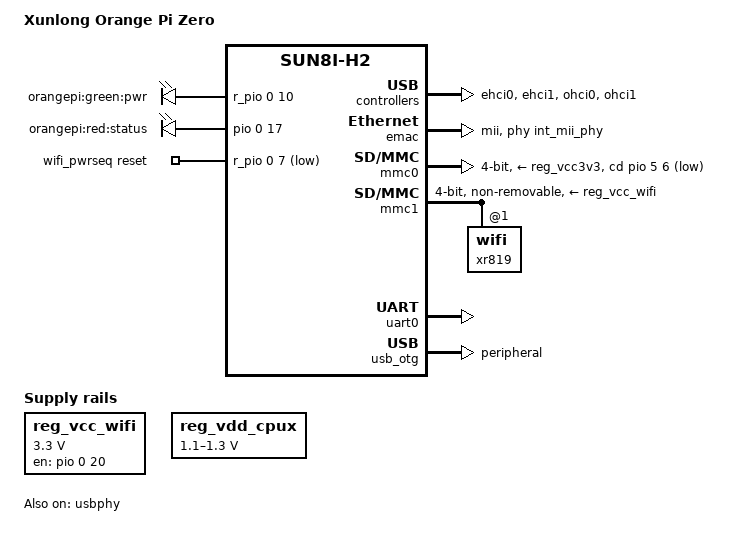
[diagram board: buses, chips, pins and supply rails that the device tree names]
/*
 * Copyright (C) 2016 Icenowy Zheng <icenowy@aosc.xyz>
 *
 * Based on sun8i-h3-orangepi-one.dts, which is:
 *   Copyright (C) 2016 Hans de Goede <hdegoede@redhat.com>
 *
 * This file is dual-licensed: you can use it either under the terms
 * of the GPL or the X11 license, at your option. Note that this dual
 * licensing only applies to this file, and not this project as a
 * whole.
 *
 *  a) This file is free software; you can redistribute it and/or
 *     modify it under the terms of the GNU General Public License as
 *     published by the Free Software Foundation; either version 2 of the
 *     License, or (at your option) any later version.
 *
 *     This file is distributed in the hope that it will be useful,
 *     but WITHOUT ANY WARRANTY; without even the implied warranty of
 *     MERCHANTABILITY or FITNESS FOR A PARTICULAR PURPOSE.  See the
 *     GNU General Public License for more details.
 *
 * Or, alternatively,
 *
 *  b) Permission is hereby granted, free of charge, to any person
 *     obtaining a copy of this software and associated documentation
 *     files (the "Software"), to deal in the Software without
 *     restriction, including without limitation the rights to use,
 *     copy, modify, merge, publish, distribute, sublicense, and/or
 *     sell copies of the Software, and to permit persons to whom the
 *     Software is furnished to do so, subject to the following
 *     conditions:
 *
 *     The above copyright notice and this permission notice shall be
 *     included in all copies or substantial portions of the Software.
 *
 *     THE SOFTWARE IS PROVIDED "AS IS", WITHOUT WARRANTY OF ANY KIND,
 *     EXPRESS OR IMPLIED, INCLUDING BUT NOT LIMITED TO THE WARRANTIES
 *     OF MERCHANTABILITY, FITNESS FOR A PARTICULAR PURPOSE AND
 *     NONINFRINGEMENT. IN NO EVENT SHALL THE AUTHORS OR COPYRIGHT
 *     HOLDERS BE LIABLE FOR ANY CLAIM, DAMAGES OR OTHER LIABILITY,
 *     WHETHER IN AN ACTION OF CONTRACT, TORT OR OTHERWISE, ARISING
 *     FROM, OUT OF OR IN CONNECTION WITH THE SOFTWARE OR THE USE OR
 *     OTHER DEALINGS IN THE SOFTWARE.
 */

/dts-v1/;
#include "sun8i-h3.dtsi"
#include "sunxi-common-regulators.dtsi"

#include <dt-bindings/gpio/gpio.h>
#include <dt-bindings/input/input.h>

/ {
	model = "Xunlong Orange Pi Zero";
	compatible = "xunlong,orangepi-zero", "allwinner,sun8i-h2-plus";

	aliases {
		serial0 = &uart0;
		/* ethernet0 is the H3 emac, defined in sun8i-h3.dtsi */
		ethernet0 = &emac;
		ethernet1 = &xr819;
	};

	chosen {
		stdout-path = "serial0:115200n8";
	};

	leds {
		compatible = "gpio-leds";

		pwr_led {
			label = "orangepi:green:pwr";
			gpios = <&r_pio 0 10 GPIO_ACTIVE_HIGH>;
			default-state = "on";
		};

		status_led {
			label = "orangepi:red:status";
			gpios = <&pio 0 17 GPIO_ACTIVE_HIGH>;
		};
	};

	reg_vcc_wifi: reg-vcc-wifi {
		compatible = "regulator-fixed";
		regulator-min-microvolt = <3300000>;
		regulator-max-microvolt = <3300000>;
		regulator-name = "vcc-wifi";
		enable-active-high;
		gpio = <&pio 0 20 GPIO_ACTIVE_HIGH>;
	};

	reg_vdd_cpux: vdd-cpux-regulator {
		compatible = "regulator-gpio";
		regulator-name = "vdd-cpux";
		regulator-type = "voltage";
		regulator-boot-on;
		regulator-always-on;
		regulator-min-microvolt = <1100000>;
		regulator-max-microvolt = <1300000>;
		regulator-ramp-delay = <50>; /* 4ms */

		gpios = <&r_pio 0 6 GPIO_ACTIVE_HIGH>; /* PL6 */
		enable-active-high;
		gpios-states = <1>;
		states = <1100000 0>, <1300000 1>;
	};

	wifi_pwrseq: pwrseq {
		compatible = "mmc-pwrseq-simple";
		reset-gpios = <&r_pio 0 7 GPIO_ACTIVE_LOW>;
		post-power-on-delay-ms = <200>;
	};
};

&cpu0 {
	cpu-supply = <&reg_vdd_cpux>;
};

&ehci0 {
	status = "okay";
};

&ehci1 {
	status = "okay";
};

&emac {
	phy-handle = <&int_mii_phy>;
	phy-mode = "mii";
	allwinner,leds-active-low;
	status = "okay";
};

&mmc0 {
	vmmc-supply = <&reg_vcc3v3>;
	bus-width = <4>;
	cd-gpios = <&pio 5 6 GPIO_ACTIVE_LOW>; /* PF6 */
	status = "okay";
};

&mmc1 {
	vmmc-supply = <&reg_vcc_wifi>;
	mmc-pwrseq = <&wifi_pwrseq>;
	bus-width = <4>;
	non-removable;
	status = "okay";

	/*
	 * Explicitly define the sdio device, so that we can add an ethernet
	 * alias for it (which e.g. makes u-boot set a mac-address).
	 */
	xr819: wifi@1 {
		reg = <1>;
	};
};

&ohci0 {
	status = "okay";
};

&ohci1 {
	status = "okay";
};

&spi0 {
	/* Disable SPI NOR by default: it optional on Orange Pi Zero boards */
	status = "disabled";

	flash@0 {
		#address-cells = <1>;
		#size-cells = <1>;
		compatible = "mxicy,mx25l1606e", "jedec,spi-nor";
		reg = <0>;
		spi-max-frequency = <40000000>;
	};
};

&uart0 {
	pinctrl-names = "default";
	pinctrl-0 = <&uart0_pa_pins>;
	status = "okay";
};

&uart1 {
	pinctrl-names = "default";
	pinctrl-0 = <&uart1_pins>;
	status = "disabled";
};

&uart2 {
	pinctrl-names = "default";
	pinctrl-0 = <&uart2_pins>;
	status = "disabled";
};

&usb_otg {
	dr_mode = "peripheral";
	status = "okay";
};

&usbphy {
	/*
	 * USB Type-A port VBUS is always on. However, MicroUSB VBUS can only
	 * power up the board; when it's used as OTG port, this VBUS is
	 * always off even if the board is powered via GPIO pins.
	 */
	status = "okay";
	usb0_id_det-gpios = <&pio 6 12 GPIO_ACTIVE_HIGH>; /* PG12 */
};
